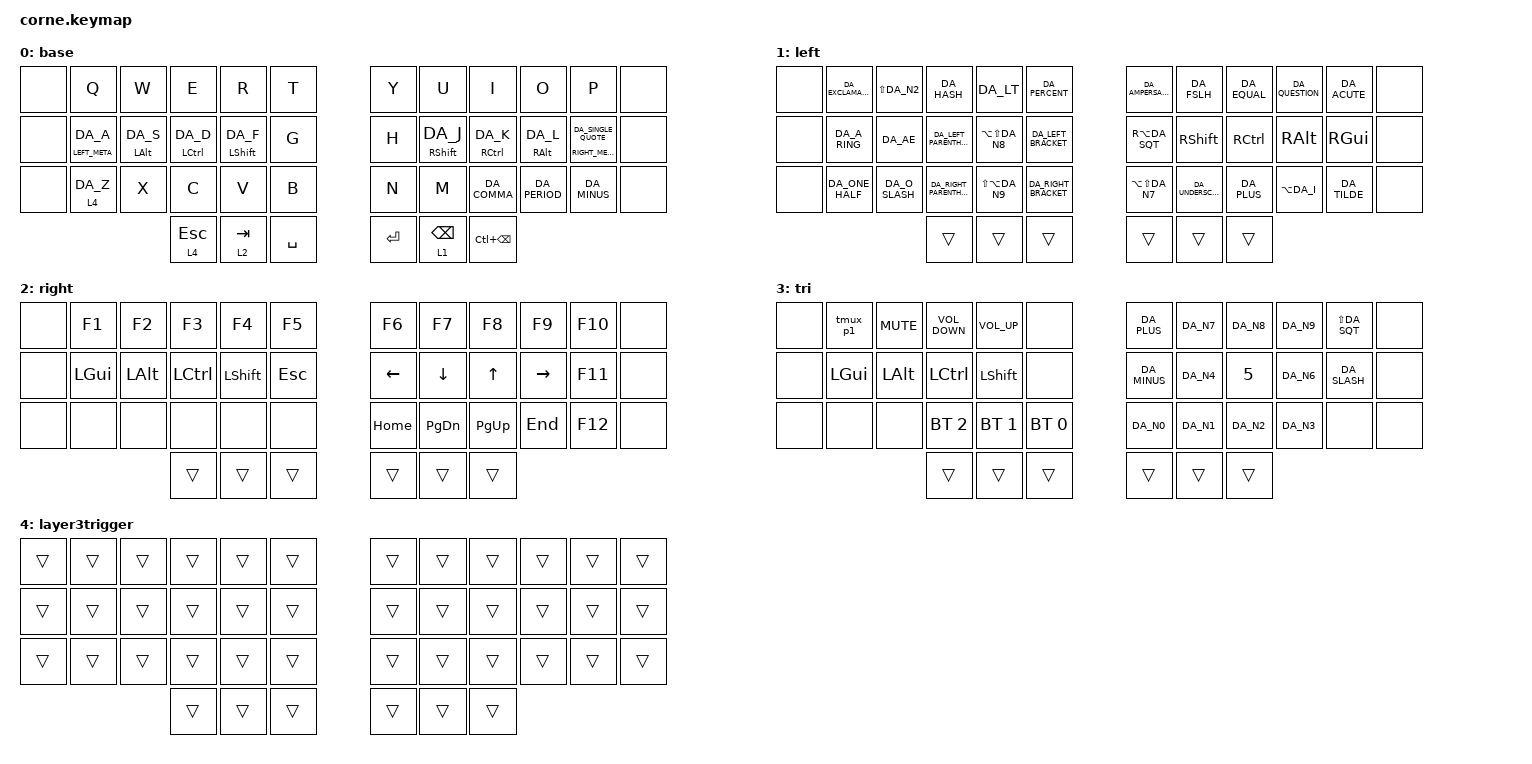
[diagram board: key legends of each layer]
/*
 * Copyright (c) 2020 The ZMK Contributors
 *
 * SPDX-License-Identifier: MIT
 */

#include "keys_da.h"
#include <behaviors.dtsi>
#include <dt-bindings/zmk/bt.h>
#include <dt-bindings/zmk/keys.h>

/ {
    behaviors {
        hm: homerow_mods {
            compatible = "zmk,behavior-hold-tap";
            label = "HOMEROW_MODS";
            #binding-cells = <2>;
            tapping-term-ms = <200>;
            quick_tap_ms = <0>;
            flavor = "tap-preferred";
            bindings = <&kp>, <&kp>;

            quick-tap-ms = <180>;
            global-quick-tap;
        };
    };

    //

    macros {
        tmux_p1: tmux_p1 {
            compatible = "zmk,behavior-macro";
            #binding-cells = <0>;
            bindings = <&kp LC(DA_S) &kp DA_N1>;
            label = "TMUX_P1";
        };

        tmux_p2: tmux_p2 {
            compatible = "zmk,behavior-macro";
            #binding-cells = <0>;
            bindings = <&kp LC(DA_S) &kp DA_N2>;
            label = "TMUX_P2";
        };

        tmux_p3: tmux_p3 {
            compatible = "zmk,behavior-macro";
            #binding-cells = <0>;
            bindings = <&kp LC(DA_S) &kp DA_N3>;
            label = "TMUX_P3";
        };

        tmux_p4: tmux_p4 {
            compatible = "zmk,behavior-macro";
            #binding-cells = <0>;
            bindings = <&kp LC(DA_S) &kp DA_N4>;
            label = "TMUX_P4";
        };
    };

    combos {
        compatible = "zmk,combos";

        esc {
            bindings = <&kp ESCAPE>;
            key-positions = <0 1>;
        };

        caps {
            bindings = <&kp CAPSLOCK>;
            key-positions = <10 11>;
        };
    };

    keymap {
        compatible = "zmk,keymap";

        base {
            display-name = "base";
            bindings = <
&none  &kp Q               &kp W              &kp E                  &kp R                &kp T        &kp Y    &kp U                 &kp I                   &kp O               &kp P                           &none
&none  &hm LEFT_META DA_A  &hm LEFT_ALT DA_S  &hm LEFT_CONTROL DA_D  &hm LEFT_SHIFT DA_F  &kp G        &kp H    &hm RIGHT_SHIFT DA_J  &hm RIGHT_CONTROL DA_K  &hm RIGHT_ALT DA_L  &hm RIGHT_META DA_SINGLE_QUOTE  &none
&none  &lt 4 DA_Z          &kp X              &kp C                  &kp V                &kp B        &kp N    &kp M                 &kp DA_COMMA            &kp DA_PERIOD       &kp DA_MINUS                    &none
                                              &lt 4 ESCAPE           &lt 2 TAB            &kp SPACE    &kp RET  &lt 1 BACKSPACE       &kp LC(BACKSPACE)
            >;
        };

        left {
            // -----------------------------------------------------------------------------------------
            // |  TAB |  1  |  2  |  3  |  4  |  5  |   |  6  |  7  |  8  |  9  |  0  | BKSP |
            // | BTCLR| BT1 | BT2 | BT3 | BT4 | BT5 |   | LFT | DWN |  UP | RGT |     |      |
            // | SHFT |     |     |     |     |     |   |     |     |     |     |     |      |
            //                    | GUI |     | SPC |   | ENT |     | ALT |

            display-name = "left";
            bindings = <
&none  &kp DA_EXCLAMATION  &kp LS(DA_N2)   &kp DA_HASH               &kp DA_LT          &kp DA_PERCENT          &kp DA_AMPERSAND   &kp DA_FSLH        &kp DA_EQUAL       &kp DA_QUESTION  &kp DA_ACUTE   &none
&none  &kp DA_A_RING       &kp DA_AE       &kp DA_LEFT_PARENTHESIS   &kp LA(LS(DA_N8))  &kp DA_LEFT_BRACKET     &kp RA(DA_SQT)     &kp RIGHT_SHIFT    &kp RIGHT_CONTROL  &kp RIGHT_ALT    &kp RIGHT_GUI  &none
&none  &kp DA_ONE_HALF     &kp DA_O_SLASH  &kp DA_RIGHT_PARENTHESIS  &kp LS(LA(DA_N9))  &kp DA_RIGHT_BRACKET    &kp LA(LS(DA_N7))  &kp DA_UNDERSCORE  &kp DA_PLUS        &kp LA(DA_I)     &kp DA_TILDE   &none
                                           &trans                    &trans             &trans                  &trans             &trans             &trans
            >;
        };

        right {
            // -----------------------------------------------------------------------------------------
            // |  TAB |  !  |  @  |  #  |  $  |  %  |   |  ^  |  &  |  *  |  (  |  )  | BKSP |
            // | CTRL |     |     |     |     |     |   |  -  |  =  |  [  |  ]  |  \  |  `   |
            // | SHFT |     |     |     |     |     |   |  _  |  +  |  {  |  }  | "|" |  ~   |
            //                    | GUI |     | SPC |   | ENT |     | ALT |

            display-name = "right";
            bindings = <
&none  &kp F1        &kp F2        &kp F3            &kp F4          &kp F5     &kp F6    &kp F7         &kp F8       &kp F9     &kp F10  &none
&none  &kp LEFT_GUI  &kp LEFT_ALT  &kp LEFT_CONTROL  &kp LEFT_SHIFT  &kp ESC    &kp LEFT  &kp DOWN       &kp UP       &kp RIGHT  &kp F11  &none
&none  &none         &none         &none             &none           &none      &kp HOME  &kp PAGE_DOWN  &kp PAGE_UP  &kp END    &kp F12  &none
                                   &trans            &trans          &trans     &trans    &trans         &trans
            >;
        };

        tri {
            bindings = <
&none  &tmux_p1      &kp K_MUTE    &kp C_VOLUME_DOWN  &kp C_VOLUME_UP  &none           &kp DA_PLUS   &kp DA_N7  &kp DA_N8     &kp DA_N9  &kp LS(DA_SQT)  &none
&none  &kp LEFT_GUI  &kp LEFT_ALT  &kp LEFT_CONTROL   &kp LEFT_SHIFT   &none           &kp DA_MINUS  &kp DA_N4  &kp NUMBER_5  &kp DA_N6  &kp DA_SLASH    &none
&none  &none         &none         &bt BT_SEL 2       &bt BT_SEL 1     &bt BT_SEL 0    &kp DA_N0     &kp DA_N1  &kp DA_N2     &kp DA_N3  &none           &none
                                   &trans             &trans           &trans          &trans        &trans     &trans
            >;
        };

        layer3trigger {
            bindings = <
&trans  &trans  &trans  &trans  &trans  &trans    &trans  &trans  &trans  &trans  &trans  &trans
&trans  &trans  &trans  &trans  &trans  &trans    &trans  &trans  &trans  &trans  &trans  &trans
&trans  &trans  &trans  &trans  &trans  &trans    &trans  &trans  &trans  &trans  &trans  &trans
                        &trans  &trans  &trans    &trans  &trans  &trans
            >;
        };
    };

    conditional_layers {
        compatible = "zmk,conditional-layers";

        tri {
            if-layers = <1 2>;
            then-layer = <3>;
        };

        l3 {
            if-layers = <4>;
            then-layer = <3>;
        };
    };
};
